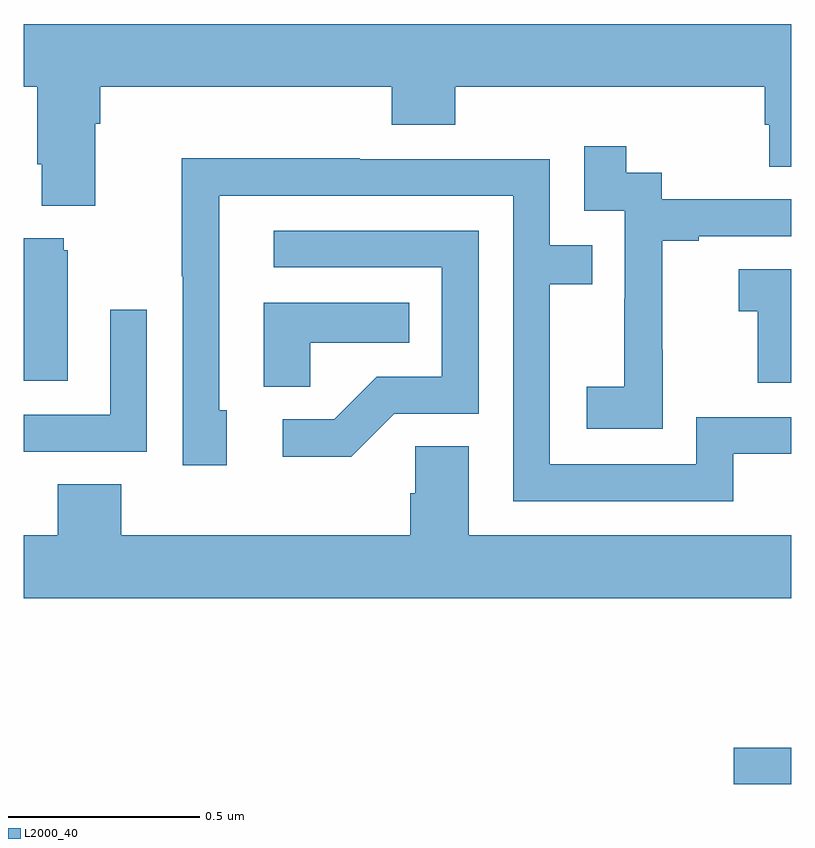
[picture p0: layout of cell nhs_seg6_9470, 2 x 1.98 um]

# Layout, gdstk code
import gdstk
lib = gdstk.Library(unit=1e-6, precision=1e-09)
def R(c, l, rs):  # rectangles x0, y0, x1, y1
    for r in rs: c.add(gdstk.rectangle(r[:2], r[2:], *l))
def P(c, l, *ps):  # polygons
    for p in ps: c.add(gdstk.Polygon(p, *l))
L2000_40 = (2000, 40)

nhs_seg6_9470 = lib.new_cell('nhs_seg6_9470')
R(nhs_seg6_9470, L2000_40, [(235.85,965.5,236,965.595)])
P(nhs_seg6_9470, L2000_40, [(234.187,967.22),(234.2,967.22),(234.2,967.316),(234.959,967.316),(234.959,967.217),(235.124,967.217),(235.124,967.316),(235.931,967.316),(235.931,967.218),(235.943,967.218),(235.943,967.108),(236,967.108),(236,967.48),(234,967.48),(234,967.316),(234.035,967.316),(234.035,967.114),(234.047,967.114),(234.047,967.007),(234.187,967.007)],
  [(235.665,966.631),(235.664,966.631),(235.664,966.915),(235.759,966.915),(235.759,966.927),(236,966.927),(236,967.023),(235.662,967.023),(235.662,967.092),(235.57,967.092),(235.57,967.162),(235.461,967.162),(235.461,966.993),(235.566,966.993),(235.566,966.764),(235.565,966.764),(235.565,966.535),(235.467,966.535),(235.467,966.425),(235.665,966.425)],
  [(235.849,966.36),(236,966.36),(236,966.456),(235.752,966.456),(235.752,966.333),(235.371,966.333),(235.371,966.802),(235.481,966.802),(235.481,966.903),(235.371,966.903),(235.371,967.128),(234.875,967.128),(234.875,967.13),(234.412,967.13),(234.412,966.823),(234.414,966.823),(234.414,966.33),(234.529,966.33),(234.529,966.474),(234.51,966.474),(234.51,967.032),(235.275,967.032),(235.275,966.237),(235.849,966.237)],
  [(234.966,966.465),(235.185,966.465),(235.185,966.942),(234.651,966.942),(234.651,966.846),(235.089,966.846),(235.089,966.561),(234.92,966.561),(234.809,966.45),(234.675,966.45),(234.675,966.353),(234.853,966.353)],
  [(234.115,966.891),(234.104,966.891),(234.104,966.922),(234,966.922),(234,966.551),(234.115,966.551)],
  [(236,966.841),(235.863,966.841),(235.863,966.731),(235.912,966.731),(235.912,966.546),(236,966.546)],
  [(234.747,966.65),(235.004,966.65),(235.004,966.754),(234.626,966.754),(234.626,966.535),(234.747,966.535)],
  [(234.005,966.366),(234.321,966.366),(234.321,966.736),(234.225,966.736),(234.225,966.462),(234,966.462),(234,966.365),(234.005,966.365)],
  [(236,966.148),(235.159,966.148),(235.159,966.38),(235.02,966.38),(235.02,966.257),(235.007,966.257),(235.007,966.148),(234.254,966.148),(234.254,966.281),(234.089,966.281),(234.089,966.148),(234,966.148),(234,965.984),(236,965.984)])

lib.write_gds('nhs_seg6_9470.gds')
